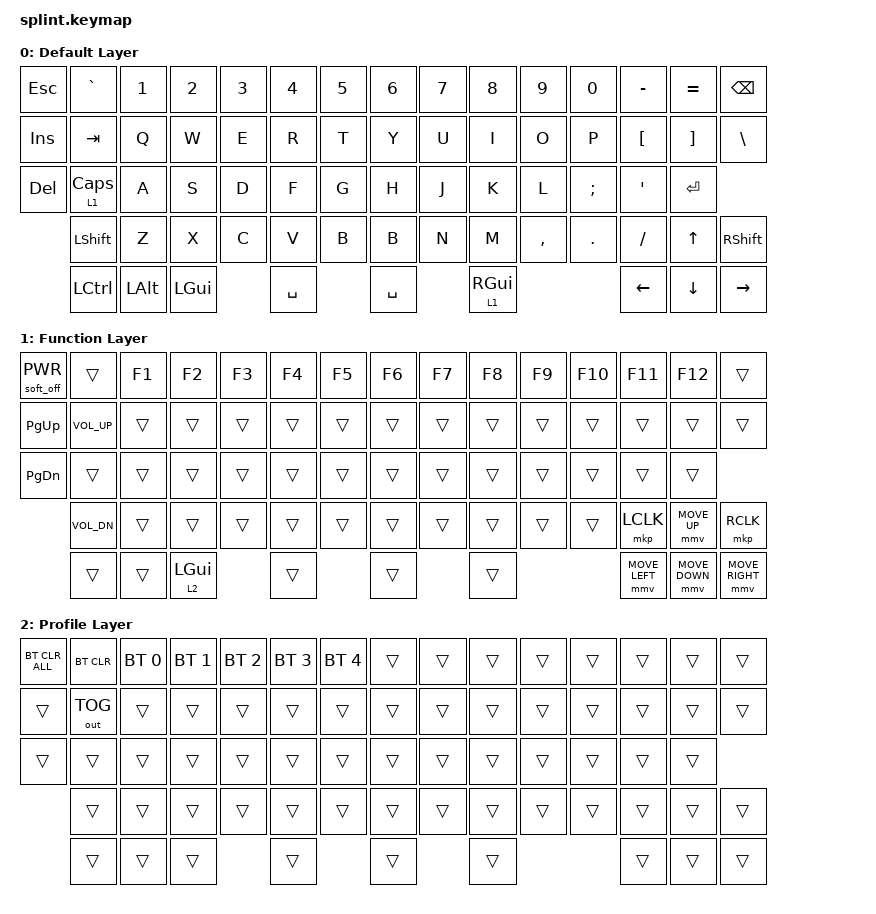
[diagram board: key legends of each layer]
#include <behaviors.dtsi>
#include <dt-bindings/zmk/keys.h>
#include <dt-bindings/zmk/bt.h>
#include <dt-bindings/zmk/rgb.h>
#include <dt-bindings/zmk/outputs.h>
#include <dt-bindings/zmk/pointing.h>

&soft_off {
    hold-time-ms = <2000>;
};

/ {
    behaviors {
        llt: long_layer {
            compatible = "zmk,behavior-hold-tap";
            #binding-cells = <2>;
            flavor = "tap-preferred";
            tapping-term-ms = <350>;
            bindings = <&mo>, <&kp>;
            display-name = "Long-Layer";
        };

        hlt: hold_layer {
            compatible = "zmk,behavior-hold-tap";
            #binding-cells = <2>;
            flavor = "hold-preferred";
            tapping-term-ms = <350>;
            bindings = <&mo>, <&kp>;
            display-name = "Hold-Layer";
        };

        oft: off_tap {
            compatible = "zmk,behavior-hold-tap";
            #binding-cells = <2>;
            flavor = "hold-preferred";
            tapping-term-ms = <350>;
            bindings = <&soft_off>, <&kp>;
            display-name = "Off-Tap";
        };
    };

    keymap {
        compatible = "zmk,keymap";

        default_layer {
            display-name = "Default Layer";

            bindings = <
&kp ESC         &kp GRAVE    &kp N1       &kp N2       &kp N3       &kp N4       &kp N5       &kp N6       &kp N7       &kp N8       &kp N9       &kp N0       &kp MINUS    &kp EQUAL    &kp BSPC
&kp INSERT      &kp TAB      &kp Q        &kp W        &kp E        &kp R        &kp T        &kp Y        &kp U        &kp I        &kp O        &kp P        &kp LBKT     &kp RBKT     &kp BSLH
&kp DELETE      &hlt 1 CAPS  &kp A        &kp S        &kp D        &kp F        &kp G        &kp H        &kp J        &kp K        &kp L        &kp SEMI     &kp SQT      &kp ENTER
                &kp LSHFT    &kp Z        &kp X        &kp C        &kp V        &kp B        &kp B        &kp N        &kp M        &kp COMMA    &kp DOT      &kp SLASH    &kp UP       &kp RSHFT
                &kp LCTRL    &kp LALT     &kp LGUI                  &kp SPACE                 &kp SPACE                 &llt 1 RGUI                            &kp LEFT     &kp DOWN     &kp RIGHT
            >;
        };

        function_layer {
            display-name = "Function Layer";

            bindings = <
&oft 0 C_PWR    &trans       &kp F1       &kp F2       &kp F3       &kp F4       &kp F5       &kp F6       &kp F7       &kp F8       &kp F9       &kp F10      &kp F11      &kp F12      &trans
&kp PG_UP       &kp C_VOL_UP &trans       &trans       &trans       &trans       &trans       &trans       &trans       &trans       &trans       &trans       &trans       &trans       &trans
&kp PG_DN       &trans       &trans       &trans       &trans       &trans       &trans       &trans       &trans       &trans       &trans       &trans       &trans       &trans
                &kp C_VOL_DN &trans       &trans       &trans       &trans       &trans       &trans       &trans       &trans       &trans       &trans       &mkp LCLK      &mmv MOVE_UP   &mkp RCLK
                &trans       &trans       &hlt 2 LGUI               &trans                    &trans                    &trans                                 &mmv MOVE_LEFT &mmv MOVE_DOWN &mmv MOVE_RIGHT
            >;
        };

        profile_layer {
            display-name = "Profile Layer";

            bindings = <
&bt BT_CLR_ALL  &bt BT_CLR   &bt BT_SEL 0 &bt BT_SEL 1 &bt BT_SEL 2 &bt BT_SEL 3 &bt BT_SEL 4 &trans       &trans       &trans       &trans       &trans       &trans       &trans       &trans
&trans          &out OUT_TOG &trans       &trans       &trans       &trans       &trans       &trans       &trans       &trans       &trans       &trans       &trans       &trans       &trans
&trans          &trans       &trans       &trans       &trans       &trans       &trans       &trans       &trans       &trans       &trans       &trans       &trans       &trans
                &trans       &trans       &trans       &trans       &trans       &trans       &trans       &trans       &trans       &trans       &trans       &trans       &trans       &trans
                &trans       &trans       &trans                    &trans                    &trans                    &trans                                 &trans       &trans       &trans
            >;
        };
    };
};
